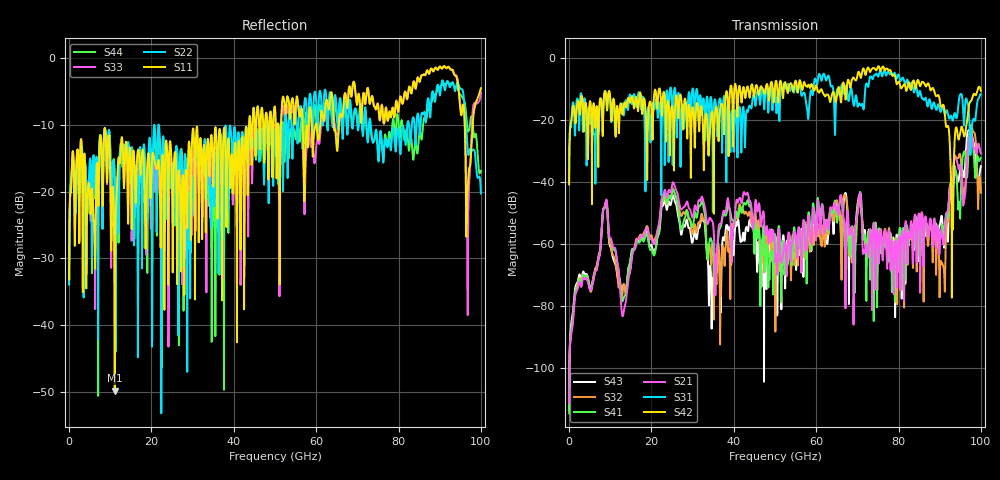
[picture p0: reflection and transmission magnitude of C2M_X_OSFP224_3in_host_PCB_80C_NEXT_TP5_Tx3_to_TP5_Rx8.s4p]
# GHz S RI R 45
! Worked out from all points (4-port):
!   4000 points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, 25 MHz to 100 GHz, reference 45 ohm
!   strongest paths, dB at 25 MHz, 25.02 GHz, 50.02 GHz, 75.03 GHz, 100 GHz:
!     S42: -40.6, -15.4, -8.6, -2.6, -10.4
!     S31: -39.7, -15.6, -10.6, -5.9, -11.5
!     S21: -111.2, -40.9, -63.0, -58.8, -30.7
!     S41: -114.5, -43.2, -57.3, -57.7, -32.1
!     S32: -113.6, -42.6, -68.6, -58.5, -43.3
!     S43: -105.7, -44.8, -57.2, -58.1, -34.8
!   lowest |S11| = -49.8 dB at 11.1 GHz (marker M1), VSWR 1.01, Z = 44.9 + j0.285 ohm
!   |S11| at or under -10 dB: start of sweep to 43.7 GHz; 56.74 GHz to 58.18 GHz (1.445 GHz wide, 2.51 % of centre); 96.08 GHz to 98 GHz (1.925 GHz wide, 1.98 % of centre) (the widest 3 of 14)
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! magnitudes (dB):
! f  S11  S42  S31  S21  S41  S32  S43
! 25 MHz  -33.1  -40.6  -39.7  -111.2  -114.5  -113.6  -105.7
! 8.725 GHz  -10.5  -10.5  -10.6  -47.4  -47.5  -47.8  -47.9
! 11.1 GHz  -49.8  -16.7  -21.6  -61.0  -61.8  -64.7  -65.8
! 76.53 GHz  -9.7  -3.4  -4.0  -56.7  -58.3  -56.2  -57.6
! 90.88 GHz  -1.3  -15.0  -16.1  -59.9  -58.6  -67.2  -58.0
! 93.03 GHz  -1.7  -53.9  -19.7  -38.2  -40.6  -40.3  -47.4
! 100 GHz  -4.5  -10.4  -11.5  -30.7  -32.1  -43.3  -34.8
